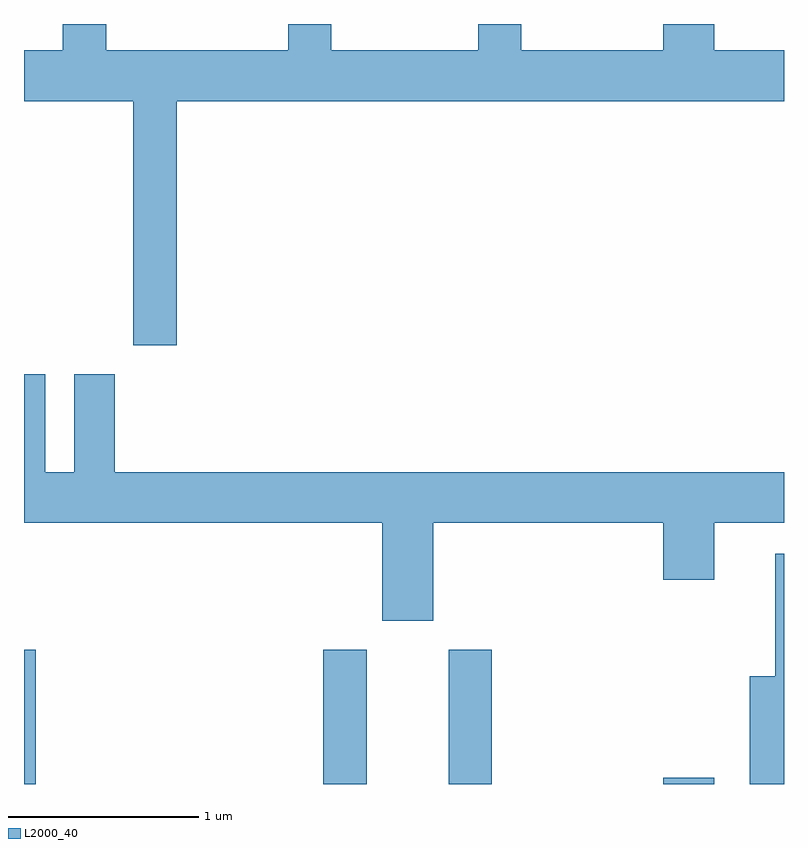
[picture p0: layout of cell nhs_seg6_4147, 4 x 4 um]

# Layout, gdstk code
import gdstk
lib = gdstk.Library(unit=1e-6, precision=1e-09)
def R(c, l, rs):  # rectangles x0, y0, x1, y1
    for r in rs: c.add(gdstk.rectangle(r[:2], r[2:], *l))
def P(c, l, *ps):  # polygons
    for p in ps: c.add(gdstk.Polygon(p, *l))
L2000_40 = (2000, 40)

nhs_seg6_4147 = lib.new_cell('nhs_seg6_4147')
R(nhs_seg6_4147, L2000_40, [(311.611,1604.162,311.674,1604.869), (313.186,1604.162,313.414,1604.869), (313.846,1604.162,314.074,1604.869), (314.976,1604.162,315.244,1604.194)])
P(nhs_seg6_4147, L2000_40, [(315.611,1608.024),(315.244,1608.024),(315.244,1608.162),(314.976,1608.162),(314.976,1608.024),(314.229,1608.024),(314.229,1608.162),(314.001,1608.162),(314.001,1608.024),(313.229,1608.024),(313.229,1608.162),(313.001,1608.162),(313.001,1608.024),(312.044,1608.024),(312.044,1608.162),(311.816,1608.162),(311.816,1608.024),(311.611,1608.024),(311.611,1607.756),(312.186,1607.756),(312.186,1606.471),(312.414,1606.471),(312.414,1607.756),(315.611,1607.756)],
  [(313.764,1605.536),(314.976,1605.536),(314.976,1605.236),(315.244,1605.236),(315.244,1605.536),(315.611,1605.536),(315.611,1605.804),(312.089,1605.804),(312.089,1606.319),(311.876,1606.319),(311.876,1605.804),(311.724,1605.804),(311.724,1606.319),(311.611,1606.319),(311.611,1605.536),(313.496,1605.536),(313.496,1605.021),(313.764,1605.021)],
  [(315.611,1605.374),(315.566,1605.374),(315.566,1604.729),(315.431,1604.729),(315.431,1604.162),(315.611,1604.162)])

lib.write_gds('nhs_seg6_4147.gds')
